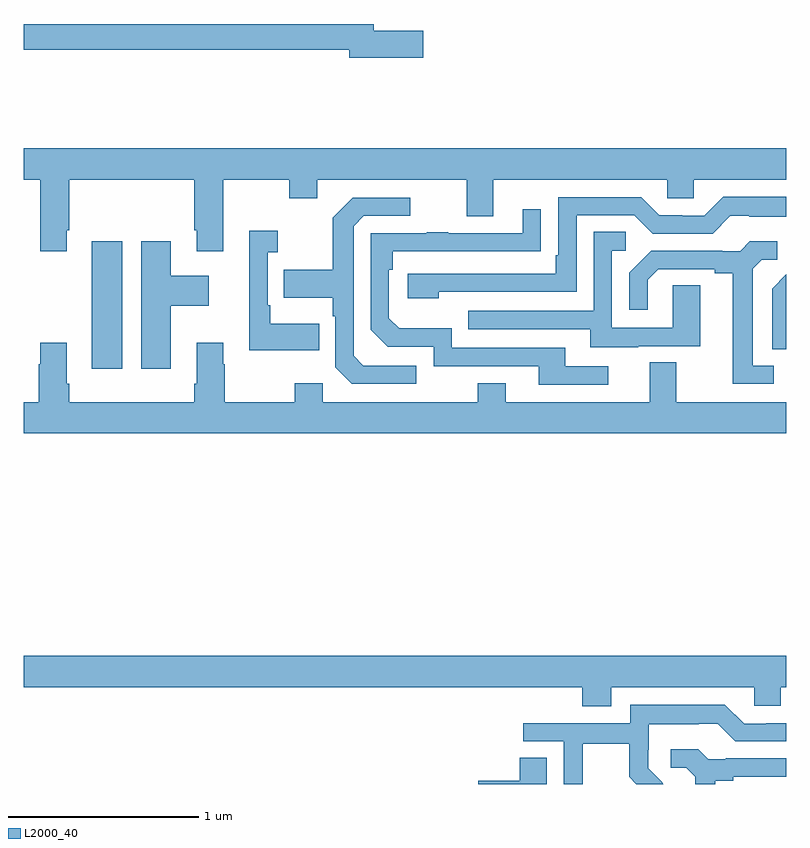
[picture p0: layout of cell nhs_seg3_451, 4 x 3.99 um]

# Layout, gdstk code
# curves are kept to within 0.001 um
import gdstk
lib = gdstk.Library(unit=1e-6, precision=1e-09)
def R(c, l, rs):  # rectangles x0, y0, x1, y1
    for r in rs: c.add(gdstk.rectangle(r[:2], r[2:], *l))
def P(c, l, *ps):  # polygons
    for p in ps: c.add(gdstk.Polygon(p, *l))
L2000_40 = (2000, 40)

nhs_seg3_451 = lib.new_cell('nhs_seg3_451')
R(nhs_seg3_451, L2000_40, [(133.355,710.58,133.516,711.247)])
P(nhs_seg3_451, L2000_40, [(135.097,712.352),(134.836,712.352),(134.836,712.388),(133,712.388),(133,712.252),(134.708,712.252),(134.708,712.21),(135.097,712.21)],
  [(133.225,711.307),(133.238,711.307),(133.238,711.572),(133.895,711.572),(133.895,711.307),(133.907,711.307),(133.907,711.195),(134.047,711.195),(134.047,711.572),(134.392,711.572),(134.392,711.473),(134.539,711.473),(134.539,711.572),(135.323,711.572),(135.323,711.378),(135.463,711.378),(135.463,711.572),(136.377,711.572),(136.377,711.474),(136.515,711.474),(136.515,711.572),(137,711.572),(137,711.736),(133,711.736),(133,711.572),(133.085,711.572),(133.085,711.195),(133.225,711.195)],
  [(135.176,710.982),(135.9,710.982),(135.9,711.384),(136.203,711.384),(136.299,711.288),(136.614,711.288),(136.707,711.381),(136.807,711.381),(136.807,711.377),(137,711.377),(137,711.481),(136.669,711.481),(136.569,711.381),(136.454,711.381),(136.454,711.384),(136.335,711.384),(136.239,711.48),(135.804,711.48),(135.804,711.175),(135.791,711.175),(135.791,711.078),(135.015,711.078),(135.015,710.948),(135.176,710.948)],
  [(135.058,710.595),(134.781,710.595),(134.73,710.646),(134.73,711.327),(134.784,711.381),(135.028,711.381),(135.028,711.477),(134.727,711.477),(134.622,711.371),(134.622,711.099),(134.365,711.099),(134.365,710.951),(134.622,710.951),(134.622,710.855),(134.634,710.855),(134.634,710.586),(134.721,710.499),(135.058,710.499)],
  [(136.066,710.592),(135.841,710.592),(135.841,710.688),(135.246,710.688),(135.246,710.791),(134.969,710.791),(134.916,710.844),(134.916,711.098),(134.936,711.098),(134.936,711.195),(135.713,711.196),(135.713,711.415),(135.617,711.415),(135.617,711.291),(135.227,711.291),(135.227,711.296),(135.115,711.296),(135.115,711.291),(134.82,711.291),(134.82,710.784),(134.91,710.694),(135.15,710.694),(135.15,710.592),(135.701,710.592),(135.701,710.496),(136.066,710.496)],
  [(134.549,710.815),(134.293,710.815),(134.293,710.911),(134.28,710.911),(134.28,711.191),(134.332,711.191),(134.332,711.304),(134.183,711.304),(134.183,710.675),(134.549,710.675)],
  [(136.225,710.697),(136.549,710.697),(136.549,711.017),(136.404,711.017),(136.404,710.793),(136.086,710.793),(136.086,711.198),(136.159,711.198),(136.159,711.299),(135.99,711.299),(135.99,710.883),(135.331,710.883),(135.331,710.787),(135.971,710.787),(135.971,710.693),(136.225,710.693)],
  [(136.936,710.595),(136.825,710.595),(136.825,711.103),(136.872,711.15),(136.954,711.15),(136.954,711.247),(136.81,711.247),(136.758,711.195),(136.664,711.195),(136.664,711.198),(136.292,711.198),(136.176,711.082),(136.176,710.889),(136.273,710.889),(136.273,711.045),(136.33,711.102),(136.625,711.102),(136.625,711.08),(136.721,711.08),(136.721,710.499),(136.936,710.499)],
  [(133.771,710.909),(133.969,710.909),(133.969,711.067),(133.771,711.067),(133.771,711.247),(133.616,711.247),(133.616,710.58),(133.771,710.58)],
  [(137,711.074),(136.998,711.072),(136.999,711.071),(136.926,710.998),(136.926,710.68),(137,710.68)],
  [(137,710.404),(136.423,710.404),(136.423,710.612),(136.283,710.612),(136.283,710.404),(135.529,710.404),(135.529,710.503),(135.382,710.503),(135.382,710.404),(134.568,710.404),(134.568,710.503),(134.422,710.503),(134.422,710.404),(134.055,710.404),(134.055,710.603),(134.047,710.603),(134.047,710.716),(133.907,710.716),(133.907,710.5),(133.895,710.5),(133.895,710.404),(133.238,710.404),(133.238,710.5),(133.225,710.5),(133.225,710.716),(133.085,710.716),(133.085,710.603),(133.078,710.603),(133.078,710.404),(133,710.404),(133,710.24),(137,710.24)],
  [(136.081,708.908),(136.833,708.908),(136.833,708.81),(136.971,708.81),(136.971,708.908),(137,708.908),(137,709.072),(133,709.072),(133,708.908),(135.929,708.908),(135.929,708.809),(136.081,708.809)],
  [(135.933,708.612),(136.177,708.612),(136.177,708.437),(136.214,708.4),(136.356,708.4),(136.349,708.407),(136.35,708.408),(136.276,708.482),(136.276,708.579),(136.278,708.579),(136.278,708.713),(136.541,708.713),(136.541,708.717),(136.641,708.717),(136.734,708.624),(137,708.624),(137,708.72),(136.895,708.72),(136.895,708.717),(136.779,708.717),(136.679,708.817),(136.182,708.817),(136.182,708.72),(135.621,708.72),(135.621,708.624),(135.834,708.624),(135.834,708.4),(135.933,708.4)],
  [(136.627,708.416),(136.723,708.416),(136.723,708.438),(137,708.438),(137,708.534),(136.684,708.534),(136.684,708.531),(136.59,708.531),(136.538,708.583),(136.395,708.583),(136.395,708.486),(136.476,708.486),(136.523,708.439),(136.523,708.4),(136.627,708.4)],
  [(135.745,708.539),(135.602,708.539),(135.602,708.416),(135.384,708.416),(135.384,708.4),(135.745,708.4)])

lib.write_gds('nhs_seg3_451.gds')
